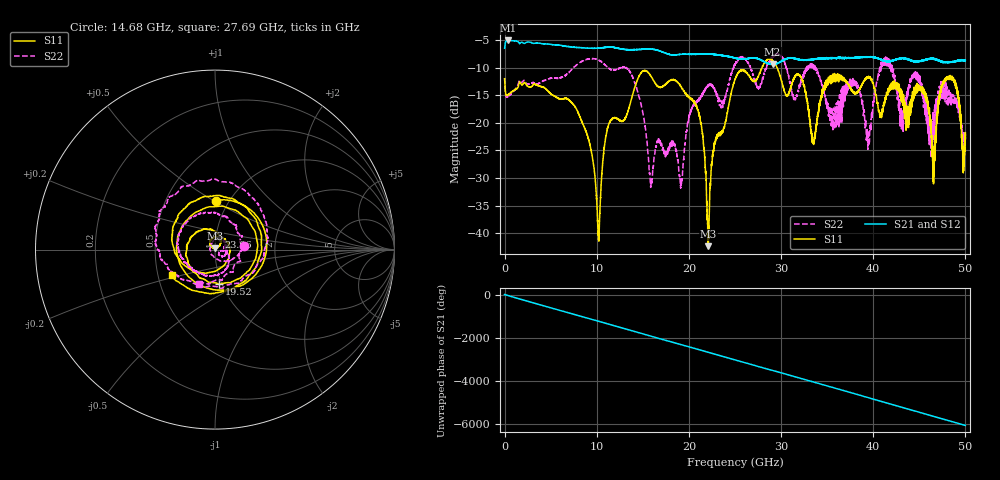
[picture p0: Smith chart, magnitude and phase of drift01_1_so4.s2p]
!Created with skrf (http://scikit-rf.org).
# Hz S RI R 50.0
!freq ReS11 ImS11 ReS21 ImS21 ReS12 ImS12 ReS22 ImS22
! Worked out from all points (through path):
!   10001 points, 300 kHz to 50 GHz, reference 50 ohm
!   highest |S21| = -5.06 dB at 400.3 MHz (marker M1); lowest = -9.4 dB at 29.08 GHz (marker M2)
!   group delay of S21, straight-line fit = 336 ps
!   lowest |S11| = -42.4 dB at 22.09 GHz (marker M3), VSWR 1.02, Z = 49.8 + j0.734 ohm
!   |S11| at or under -10 dB: start of sweep to 27.93 GHz; 29.58 GHz to end of sweep
!   |S22| runs from -31.8 to -7.4 dB; largest |S21 - S12| = 0.012
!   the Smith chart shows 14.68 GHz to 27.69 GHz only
!   S11 on the Smith chart (normalised r, x): 14.68 GHz: 0.87, +0.51; 19.52 GHz: 0.97, -0.38; 23.06 GHz: 1.04, +0.15; 27.69 GHz: 0.59, -0.18
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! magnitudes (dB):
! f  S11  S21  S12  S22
! 300 kHz  -12.0  -6.5  -6.6  -11.9
! 400.3 MHz  -14.8  -5.1  -5.1  -15.2
! 8.335 GHz  -19.6  -6.4  -6.4  -8.9
! 10.19 GHz  -40.9  -6.5  -6.4  -8.6
! 11.23 GHz  -20.7  -6.3  -6.3  -10.0
! 14.68 GHz  -11.3  -6.7  -6.7  -15.8
! 15.87 GHz  -11.5  -6.6  -6.6  -31.5
! 16.67 GHz  -13.4  -6.9  -6.9  -23.1
! 19.52 GHz  -14.3  -7.5  -7.5  -24.8
! 21.2 GHz  -19.0  -7.5  -7.5  -15.6
! 22.09 GHz  -42.4  -7.5  -7.5  -13.3
! 23.06 GHz  -22.4  -7.7  -7.7  -15.0
! 25 GHz  -12.1  -8.3  -8.3  -9.5
! 27.69 GHz  -11.0  -8.5  -8.5  -13.5
! 29.08 GHz  -8.7  -9.4  -9.4  -7.9
! 33.34 GHz  -22.5  -8.6  -8.5  -9.6
! 39.48 GHz  -11.6  -8.0  -8.1  -22.0
! 41.67 GHz  -13.8  -8.8  -8.8  -8.9
! 45.34 GHz  -14.0  -8.7  -8.7  -14.5
! 46.56 GHz  -26.8  -8.4  -8.4  -20.5
! 48.52 GHz  -11.7  -9.0  -9.0  -15.0
! 50 GHz  -22.7  -8.7  -8.7  -22.8
